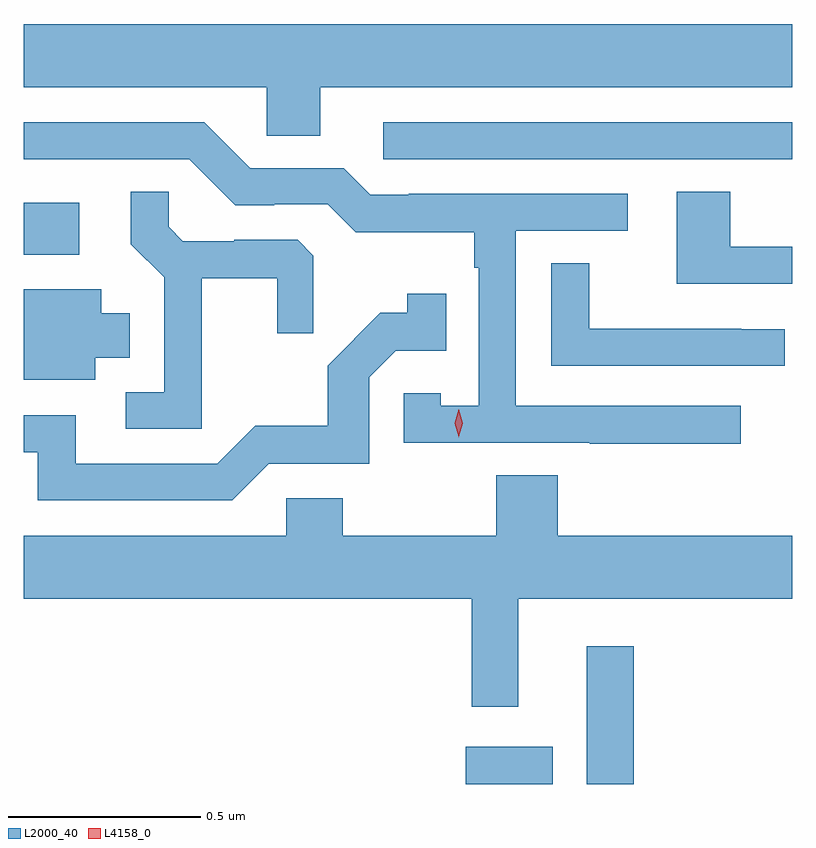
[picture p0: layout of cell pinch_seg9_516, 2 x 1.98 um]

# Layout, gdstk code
import gdstk
lib = gdstk.Library(unit=1e-6, precision=1e-09)
def R(c, l, rs):  # rectangles x0, y0, x1, y1
    for r in rs: c.add(gdstk.rectangle(r[:2], r[2:], *l))
def P(c, l, *ps):  # polygons
    for p in ps: c.add(gdstk.Polygon(p, *l))
L2000_40 = (2000, 40)
L4158_0 = (4158, 0)

pinch_seg9_516 = lib.new_cell('pinch_seg9_516')
R(pinch_seg9_516, L2000_40, [(348.512,1205.262,348.739,1205.359), (348.827,1205.262,348.949,1205.62), (347.362,1206.639,347.506,1206.775), (348.297,1206.888,349.362,1206.984)])
P(pinch_seg9_516, L2000_40, [(348.133,1207.076),(349.362,1207.076),(349.362,1207.24),(347.362,1207.24),(347.362,1207.076),(347.994,1207.076),(347.994,1206.949),(348.133,1206.949)],
  [(349.228,1206.246),(348.642,1206.246),(348.642,1206.702),(348.934,1206.702),(348.934,1206.798),(348.364,1206.798),(348.364,1206.795),(348.264,1206.795),(348.195,1206.864),(347.952,1206.864),(347.832,1206.984),(347.362,1206.984),(347.362,1206.888),(347.793,1206.888),(347.913,1206.768),(348.014,1206.768),(348.014,1206.771),(348.153,1206.771),(348.226,1206.698),(348.534,1206.698),(348.534,1206.605),(348.546,1206.605),(348.546,1206.247),(348.447,1206.247),(348.447,1206.279),(348.351,1206.279),(348.351,1206.15),(348.835,1206.15),(348.835,1206.148),(349.228,1206.148)],
  [(349.362,1206.66),(349.201,1206.66),(349.201,1206.803),(349.061,1206.803),(349.061,1206.564),(349.362,1206.564)],
  [(347.825,1206.578),(348.022,1206.578),(348.022,1206.435),(348.116,1206.435),(348.116,1206.637),(348.075,1206.678),(347.91,1206.678),(347.91,1206.675),(347.776,1206.675),(347.739,1206.712),(347.739,1206.803),(347.641,1206.803),(347.641,1206.667),(347.727,1206.581),(347.727,1206.282),(347.628,1206.282),(347.628,1206.186),(347.825,1206.186)],
  [(349.342,1206.446),(349.229,1206.446),(349.229,1206.447),(348.834,1206.447),(348.834,1206.617),(348.735,1206.617),(348.735,1206.351),(349.342,1206.351)],
  [(347.548,1206.371),(347.638,1206.371),(347.638,1206.487),(347.563,1206.487),(347.563,1206.55),(347.362,1206.55),(347.362,1206.314),(347.548,1206.314)],
  [(348,1206.096),(348.261,1206.096),(348.261,1206.321),(348.33,1206.39),(348.461,1206.39),(348.461,1206.538),(348.36,1206.538),(348.36,1206.488),(348.29,1206.488),(348.153,1206.35),(348.153,1206.195),(347.964,1206.195),(347.865,1206.096),(347.497,1206.096),(347.497,1206.222),(347.362,1206.222),(347.362,1206.126),(347.399,1206.126),(347.399,1206),(347.904,1206)],
  [(348.528,1205.463),(348.649,1205.463),(348.649,1205.744),(349.362,1205.744),(349.362,1205.908),(348.752,1205.908),(348.752,1206.065),(348.592,1206.065),(348.592,1205.908),(348.192,1205.908),(348.192,1206.006),(348.045,1206.006),(348.045,1205.908),(347.362,1205.908),(347.362,1205.744),(348.528,1205.744)])
P(pinch_seg9_516, L4158_0, [(348.494,1206.165),(348.494,1206.166),(348.484,1206.201),(348.494,1206.237),(348.494,1206.237),(348.494,1206.237),(348.504,1206.201),(348.494,1206.166)])

lib.write_gds('pinch_seg9_516.gds')
